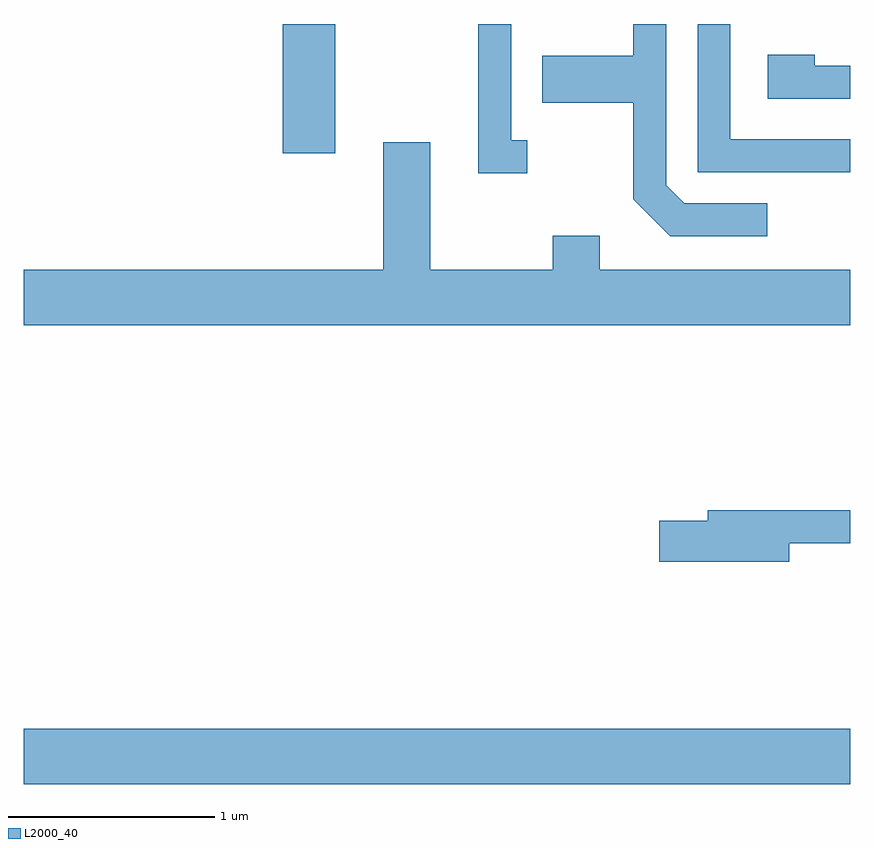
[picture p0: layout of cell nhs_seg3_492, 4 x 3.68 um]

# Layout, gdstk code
import gdstk
lib = gdstk.Library(unit=1e-6, precision=1e-09)
def R(c, l, rs):  # rectangles x0, y0, x1, y1
    for r in rs: c.add(gdstk.rectangle(r[:2], r[2:], *l))
def P(c, l, *ps):  # polygons
    for p in ps: c.add(gdstk.Polygon(p, *l))
L2000_40 = (2000, 40)

nhs_seg3_492 = lib.new_cell('nhs_seg3_492')
R(nhs_seg3_492, L2000_40, [(199.611,1148.216,203.611,1148.484), (200.866,1151.266,201.119,1151.892)])
P(nhs_seg3_492, L2000_40, [(203.611,1151.334),(203.029,1151.334),(203.029,1151.892),(202.871,1151.892),(202.871,1151.176),(203.611,1151.176)],
  [(203.208,1151.024),(202.807,1151.024),(202.719,1151.112),(202.719,1151.892),(202.561,1151.892),(202.561,1151.739),(202.121,1151.739),(202.121,1151.511),(202.561,1151.511),(202.561,1151.044),(202.739,1150.866),(203.208,1150.866)],
  [(202.048,1151.329),(201.969,1151.329),(201.969,1151.892),(201.811,1151.892),(201.811,1151.171),(202.048,1151.171)],
  [(203.611,1151.689),(203.439,1151.689),(203.439,1151.744),(203.211,1151.744),(203.211,1151.531),(203.611,1151.531)],
  [(203.611,1150.704),(202.399,1150.704),(202.399,1150.869),(202.171,1150.869),(202.171,1150.704),(201.579,1150.704),(201.579,1151.319),(201.351,1151.319),(201.351,1150.704),(199.611,1150.704),(199.611,1150.436),(203.611,1150.436)],
  [(203.314,1149.381),(203.611,1149.381),(203.611,1149.539),(202.921,1149.539),(202.921,1149.489),(202.686,1149.489),(202.686,1149.291),(203.314,1149.291)])

lib.write_gds('nhs_seg3_492.gds')
